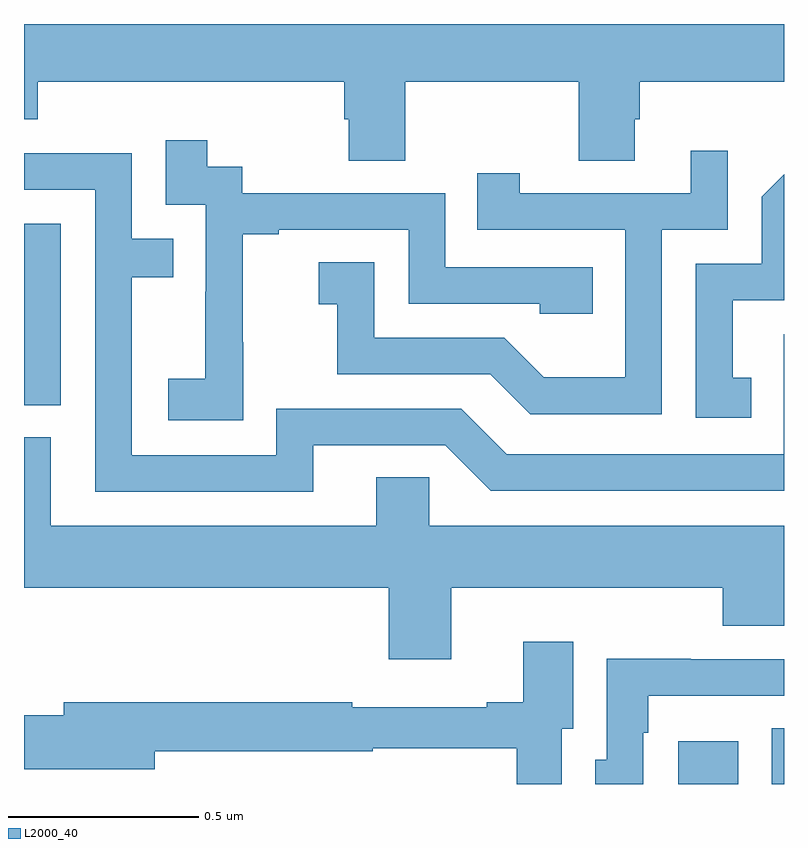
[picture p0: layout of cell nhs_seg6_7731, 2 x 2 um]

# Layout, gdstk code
import gdstk
lib = gdstk.Library(unit=1e-6, precision=1e-09)
def R(c, l, rs):  # rectangles x0, y0, x1, y1
    for r in rs: c.add(gdstk.rectangle(r[:2], r[2:], *l))
def P(c, l, *ps):  # polygons
    for p in ps: c.add(gdstk.Polygon(p, *l))
L2000_40 = (2000, 40)

nhs_seg6_7731 = lib.new_cell('nhs_seg6_7731')
R(nhs_seg6_7731, L2000_40, [(213.722,933.5,213.88,933.613), (213.968,933.5,214,933.647)])
P(nhs_seg6_7731, L2000_40, [(213.003,935.348),(213.46,935.348),(213.46,935.14),(213.607,935.14),(213.607,935.25),(213.62,935.25),(213.62,935.348),(214,935.348),(214,935.5),(212,935.5),(212,935.249),(212.036,935.249),(212.036,935.348),(212.843,935.348),(212.843,935.25),(212.855,935.25),(212.855,935.14),(213.003,935.14)],
  [(212.577,934.663),(212.576,934.663),(212.576,934.947),(212.671,934.947),(212.671,934.959),(213.012,934.959),(213.012,934.764),(213.357,934.764),(213.357,934.737),(213.497,934.737),(213.497,934.86),(213.108,934.86),(213.108,935.055),(212.574,935.055),(212.574,935.124),(212.482,935.124),(212.482,935.194),(212.373,935.194),(212.373,935.025),(212.478,935.025),(212.478,934.796),(212.477,934.796),(212.477,934.567),(212.379,934.567),(212.379,934.457),(212.577,934.457)],
  [(213.678,934.959),(213.852,934.959),(213.852,935.167),(213.755,935.167),(213.755,935.055),(213.304,935.055),(213.304,935.107),(213.193,935.107),(213.193,934.959),(213.582,934.959),(213.582,934.57),(213.368,934.57),(213.264,934.674),(212.922,934.674),(212.922,934.873),(212.775,934.873),(212.775,934.763),(212.824,934.763),(212.824,934.578),(213.227,934.578),(213.332,934.473),(213.678,934.473)],
  [(212.761,934.392),(213.108,934.392),(213.228,934.272),(214,934.272),(214,934.683),(213.999,934.683),(213.999,934.368),(213.27,934.368),(213.15,934.488),(212.664,934.488),(212.664,934.365),(212.283,934.365),(212.283,934.834),(212.393,934.834),(212.393,934.935),(212.283,934.935),(212.283,935.16),(212,935.16),(212,935.064),(212.187,935.064),(212.187,934.269),(212.761,934.269)],
  [(213.914,934.569),(213.865,934.569),(213.865,934.773),(214,934.773),(214,935.104),(213.942,935.046),(213.942,934.869),(213.768,934.869),(213.768,934.464),(213.914,934.464)],
  [(212.097,934.974),(212,934.974),(212,934.878),(212.001,934.878),(212.001,934.593),(212,934.593),(212,934.497),(212.097,934.497)],
  [(213.124,934.016),(213.839,934.016),(213.839,933.917),(214,933.917),(214,934.18),(213.066,934.18),(213.066,934.307),(212.927,934.307),(212.927,934.18),(212.071,934.18),(212.071,934.412),(212,934.412),(212,934.016),(212.96,934.016),(212.96,933.828),(213.124,933.828)],
  [(213.415,933.645),(213.445,933.645),(213.445,933.874),(213.314,933.874),(213.314,933.715),(213.218,933.715),(213.218,933.702),(212.864,933.702),(212.864,933.715),(212.105,933.715),(212.105,933.681),(212,933.681),(212,933.539),(212.344,933.539),(212.344,933.586),(212.918,933.586),(212.918,933.594),(213.297,933.594),(213.297,933.5),(213.415,933.5)],
  [(213.63,933.635),(213.643,933.635),(213.643,933.732),(214,933.732),(214,933.828),(213.755,933.828),(213.755,933.83),(213.534,933.83),(213.534,933.564),(213.503,933.564),(213.503,933.5),(213.63,933.5)])

lib.write_gds('nhs_seg6_7731.gds')
